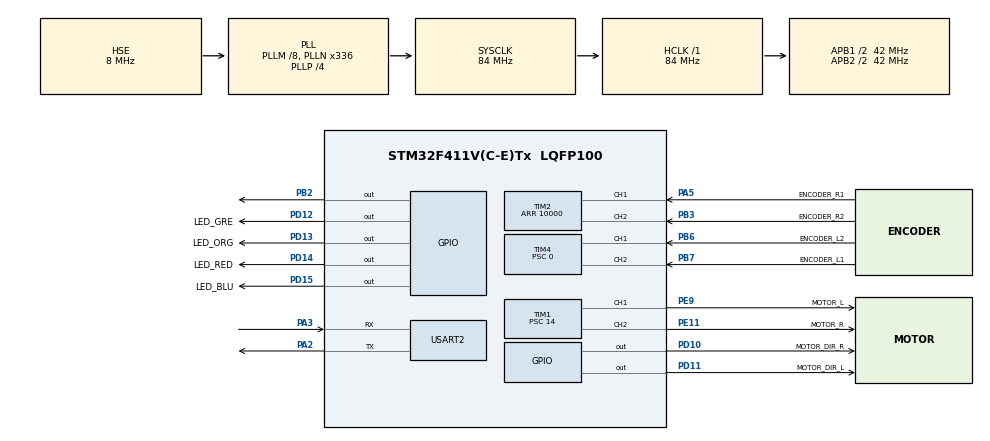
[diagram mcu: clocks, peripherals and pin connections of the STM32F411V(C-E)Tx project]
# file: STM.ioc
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Dma.Request0=USART2_RX
Dma.USART2_RX.0.Direction=DMA_PERIPH_TO_MEMORY
Dma.USART2_RX.0.FIFOMode=DMA_FIFOMODE_DISABLE
Dma.USART2_RX.0.Instance=DMA1_Stream5
Dma.USART2_RX.0.MemDataAlignment=DMA_MDATAALIGN_BYTE
Dma.USART2_RX.0.MemInc=DMA_MINC_ENABLE
Dma.USART2_RX.0.Mode=DMA_CIRCULAR
Dma.USART2_RX.0.PeriphDataAlignment=DMA_PDATAALIGN_BYTE
Dma.USART2_RX.0.PeriphInc=DMA_PINC_DISABLE
Dma.USART2_RX.0.Priority=DMA_PRIORITY_LOW
Mcu.Family=STM32F4
Mcu.Name=STM32F411V(C-E)Tx
Mcu.Package=LQFP100
NVIC.DMA1_Stream5_IRQn=true\:0\:0\:false\:false\:true\:false\:true
NVIC.PriorityGroup=NVIC_PRIORITYGROUP_4
NVIC.TIM1_BRK_TIM9_IRQn=true\:0\:0\:false\:false\:true\:true\:true
NVIC.TIM5_IRQn=true\:0\:0\:false\:false\:true\:true\:true
NVIC.USART2_IRQn=true\:0\:0\:false\:false\:true\:true\:true
PA13.Mode=Serial_Wire
PA13.Signal=SYS_JTMS-SWDIO
PA14.Mode=Serial_Wire
PA14.Signal=SYS_JTCK-SWCLK
PA2.Mode=Asynchronous
PA2.Signal=USART2_TX
PA3.Mode=Asynchronous
PA3.Signal=USART2_RX
PA5.GPIO_Label=ENCODER_R1
PA5.Signal=S_TIM2_CH1_ETR
PB2.Signal=GPIO_Output
PB3.GPIO_Label=ENCODER_R2
PB3.Signal=S_TIM2_CH2
PB6.GPIO_Label=ENCODER_L2
PB6.Signal=S_TIM4_CH1
PB7.GPIO_Label=ENCODER_L1
PB7.Signal=S_TIM4_CH2
PC14-OSC32_IN.Mode=LSE-External-Oscillator
PC14-OSC32_IN.Signal=RCC_OSC32_IN
PC15-OSC32_OUT.Mode=LSE-External-Oscillator
PC15-OSC32_OUT.Signal=RCC_OSC32_OUT
PD10.GPIO_Label=MOTOR_DIR_R
PD10.GPIO_ModeDefaultOutputPP=GPIO_MODE_OUTPUT_PP
PD10.GPIO_PuPd=GPIO_PULLUP
PD10.GPIO_Speed=GPIO_SPEED_FREQ_VERY_HIGH
PD10.PinState=GPIO_PIN_SET
PD10.Signal=GPIO_Output
PD11.GPIO_Label=MOTOR_DIR_L
PD11.GPIO_ModeDefaultOutputPP=GPIO_MODE_OUTPUT_PP
PD11.GPIO_PuPd=GPIO_PULLUP
PD11.GPIO_Speed=GPIO_SPEED_FREQ_VERY_HIGH
PD11.PinState=GPIO_PIN_SET
PD11.Signal=GPIO_Output
PD12.GPIO_Label=LED_GRE
PD12.Signal=GPIO_Output
PD13.GPIO_Label=LED_ORG
PD13.Signal=GPIO_Output
PD14.GPIO_Label=LED_RED
PD14.Signal=GPIO_Output
PD15.GPIO_Label=LED_BLU
PD15.Signal=GPIO_Output
PE11.GPIO_Label=MOTOR_R
PE11.GPIO_ModeDefaultPP=GPIO_MODE_AF_PP
PE11.GPIO_PuPd=GPIO_NOPULL
PE11.GPIO_Speed=GPIO_SPEED_FREQ_VERY_HIGH
PE11.Signal=S_TIM1_CH2
PE9.GPIO_Label=MOTOR_L
PE9.GPIO_ModeDefaultPP=GPIO_MODE_AF_PP
PE9.GPIO_PuPd=GPIO_NOPULL
PE9.GPIO_Speed=GPIO_SPEED_FREQ_VERY_HIGH
PE9.Signal=S_TIM1_CH1
PH0\ -\ OSC_IN.Mode=HSE-External-Oscillator
PH0\ -\ OSC_IN.Signal=RCC_OSC_IN
PH1\ -\ OSC_OUT.Mode=HSE-External-Oscillator
PH1\ -\ OSC_OUT.Signal=RCC_OSC_OUT
ProjectManager.HeapSize=0x200
ProjectManager.StackSize=0x400
ProjectManager.TargetToolchain=STM32CubeIDE
RCC.48MHZClocksFreq_Value=84000000
RCC.AHBFreq_Value=84000000
RCC.APB1CLKDivider=RCC_HCLK_DIV2
RCC.APB1Freq_Value=42000000
RCC.APB1TimFreq_Value=84000000
RCC.APB2CLKDivider=RCC_HCLK_DIV2
RCC.APB2Freq_Value=42000000
RCC.APB2TimFreq_Value=84000000
RCC.CortexFreq_Value=84000000
RCC.HCLKFreq_Value=84000000
RCC.HSE_VALUE=8000000
RCC.HSI_VALUE=16000000
RCC.PLLM=8
RCC.PLLN=336
RCC.PLLP=RCC_PLLP_DIV4
RCC.PLLSourceVirtual=RCC_PLLSOURCE_HSE
RCC.SYSCLKFreq_VALUE=84000000
RCC.SYSCLKSource=RCC_SYSCLKSOURCE_PLLCLK
RCC.VCOOutputFreq_Value=336000000
SH.S_TIM1_CH1.0=TIM1_CH1,PWM Generation1 CH1
SH.S_TIM1_CH2.0=TIM1_CH2,PWM Generation2 CH2
SH.S_TIM2_CH1_ETR.0=TIM2_CH1,Encoder_Interface
SH.S_TIM2_CH2.0=TIM2_CH2,Encoder_Interface
SH.S_TIM4_CH1.0=TIM4_CH1,Encoder_Interface
SH.S_TIM4_CH2.0=TIM4_CH2,Encoder_Interface
TIM1.Channel-PWM\ Generation1\ CH1=TIM_CHANNEL_1
TIM1.Channel-PWM\ Generation2\ CH2=TIM_CHANNEL_2
TIM1.Period=299
TIM1.Prescaler=14
TIM2.CounterMode=TIM_COUNTERMODE_UP
TIM2.EncoderMode=TIM_ENCODERMODE_TI12
TIM2.Period=10000
TIM4.CounterMode=TIM_COUNTERMODE_UP
TIM4.EncoderMode=TIM_ENCODERMODE_TI12
TIM4.Period=10000
TIM4.Prescaler=0
TIM5.Period=49
TIM5.Prescaler=8400
TIM9.Period=999
TIM9.Prescaler=8400
USART2.OverSampling=UART_OVERSAMPLING_16
USART2.VirtualMode=VM_ASYNC
VP_TIM1_VS_ClockSourceINT.Mode=Internal
VP_TIM5_VS_ClockSourceINT.Mode=Internal
VP_TIM9_VS_ClockSourceINT.Mode=Internal
board=custom

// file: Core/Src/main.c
/* USER CODE BEGIN Header */
/**
  ******************************************************************************
  * @file           : main.c
  * @brief          : Main program body
  ******************************************************************************
  * @attention
  *
  * <h2><center>&copy; Copyright (c) 2020 STMicroelectronics.
  * All rights reserved.</center></h2>
  *
  * This software component is licensed by ST under BSD 3-Clause license,
  * the "License"; You may not use this file except in compliance with the
  * License. You may obtain a copy of the License at:
  *                        opensource.org/licenses/BSD-3-Clause
  *
  ******************************************************************************
  */
/*
TIM1: MOTOR
TIM2: ENCODER
TIM4: ENCODER
TIM9: DELAY 100MS
TIM5: XXXX
TIM5: DELAY 5MS
*/

/* USER CODE END Header */

#include "main.h"

/* USER CODE BEGIN Includes */
#include <pid_controller.h>
#include "math.h"
/* USER CODE END Includes */

TIM_HandleTypeDef htim1;
TIM_HandleTypeDef htim2;
TIM_HandleTypeDef htim4;
TIM_HandleTypeDef htim5;
TIM_HandleTypeDef htim9;

UART_HandleTypeDef huart2;
DMA_HandleTypeDef hdma_usart2_rx;

/* USER CODE BEGIN PV */
volatile float *velo;
volatile int16_t encoder[2];
volatile float /*enc[2], */test[10];
volatile float enc[4];

/* UART 2*/
uint8_t receivebuffer[6], transmitData[3];
uint8_t dataTransmit[16];
float data_Receive[2];
/* PID Controller*/
float Kp[2] = {20.5f, 6.0f};
float Ki[2] = {2.0f, 1.0f};
float Kd[2] = {0.03f, 0.0f};
float Ts = 5; // 5ms
float vt;

/*  interupt*/
volatile float PID_current[2], v_target[2], *duty_cycle;

float A0, A1, A2, Aout, E0, E1, E2;
float Aout1;
/*test*/
uint32_t t1,t2,t3,t4;
/* USER CODE END PV */

void SystemClock_Config(void);
static void MX_GPIO_Init(void);
static void MX_DMA_Init(void);
static void MX_TIM1_Init(void);
static void MX_TIM2_Init(void);
static void MX_TIM4_Init(void);
static void MX_TIM9_Init(void);
static void MX_USART2_UART_Init(void);
static void MX_TIM5_Init(void);
/* USER CODE BEGIN PFP */
void Control_Motor(int16_t duty_l,int16_t duty_r);
float * Get_Velocity();
/* USER CODE END PFP */

/* USER CODE BEGIN 0 */
void Control_Motor(int16_t duty_r,int16_t duty_l){
	test[0]=duty_r;
	test[1]=duty_l;

	HAL_GPIO_WritePin(GPIOD, MOTOR_DIR_R_Pin, GPIO_PIN_RESET);
	__HAL_TIM_SET_COMPARE(&htim1, TIM_CHANNEL_2, duty_r);

	HAL_GPIO_WritePin(GPIOD, MOTOR_DIR_L_Pin, GPIO_PIN_RESET);
	__HAL_TIM_SET_COMPARE(&htim1, TIM_CHANNEL_1, 0);

	HAL_GPIO_TogglePin(GPIOD, LED_ORG_Pin);

/*
	if(duty_l>=0){
		HAL_GPIO_WritePin(GPIOD, MOTOR_DIR_L_Pin, GPIO_PIN_RESET);
		__HAL_TIM_SET_COMPARE(&htim1, MOTOR_L_Pin, 100);
	}
	else{
		HAL_GPIO_WritePin(GPIOD, MOTOR_DIR_L_Pin, GPIO_PIN_SET);
		__HAL_TIM_SET_COMPARE(&htim1, MOTOR_L_Pin, duty_l);
	}

	if(duty_r>=0){
		HAL_GPIO_WritePin(GPIOD, MOTOR_DIR_R_Pin, GPIO_PIN_RESET);
		__HAL_TIM_SET_COMPARE(&htim1, MOTOR_R_Pin, duty_r);
	}
	else{
		HAL_GPIO_WritePin(GPIOD, MOTOR_DIR_R_Pin, GPIO_PIN_SET);
		__HAL_TIM_SET_COMPARE(&htim1, MOTOR_R_Pin, duty_r);
	}
*/
}

float * Get_Velocity(){
//	volatile float enc[2];
	enc[0]= fabs((TIM2->CNT)-5000.0F);
	if ((TIM2->CNT)>=5000) enc[1]=-1;
	else enc[1]=1;

	enc[2]= fabs((TIM4->CNT)-5000.0F);
	if ((TIM4->CNT)>5000) enc[3]=1;
	else enc[3]=-1;

	TIM4->CNT=5000;
	TIM2->CNT=5000;

	return enc;
}

// data1: x, data2: y, Kpid
void Transmit_Uart(float x, float y, float v_l, int dir_l, float v_r, int dir_r){

	dataTransmit[0]=(uint8_t)((((uint16_t)x)|0x00FF)>>8); // 8 bit H
	dataTransmit[1]=(uint8_t)((((uint16_t)x)|0xFF00)); 	      // 8 bit L
	dataTransmit[2]=(uint8_t)((((uint16_t)((x-(uint16_t)x)*10000.0f))|0x00FF)>>8); // 8 bit H
	dataTransmit[3]=(uint8_t)((((uint16_t)((x-(uint16_t)x)*10000.0f))|0xFF00));    // 8 bit L

	dataTransmit[4]=(uint8_t)((((uint16_t)y)|0x00FF)>>8); // 8 bit H
	dataTransmit[5]=(uint8_t)((((uint16_t)y)|0xFF00)); 	      // 8 bit L
	dataTransmit[6]=(uint8_t)((((uint16_t)((y-(uint16_t)y)*10000.0f))|0x00FF)>>8); // 8 bit H
	dataTransmit[7]=(uint8_t)((((uint16_t)((y-(uint16_t)y)*10000.0f))|0xFF00));    // 8 bit L

	dataTransmit[8]=(uint8_t)v_l; // 8 bit truoc dau .
	dataTransmit[9]=(uint8_t)((((uint16_t)((v_l-(uint16_t)v_l)*10000.0f))|0x00FF)>>8); // 8 bit H
	dataTransmit[10]=(uint8_t)((((uint16_t)((v_l-(uint16_t)v_l)*10000.0f))|0xFF00));    // 8 bit L

	dataTransmit[11]=(uint8_t)dir_l;

	dataTransmit[12]=(uint8_t)v_r; // 8 bit truoc dau .
	dataTransmit[13]=(uint8_t)((((uint16_t)((v_r-(uint16_t)v_r)*10000.0f))|0x00FF)>>8); // 8 bit H
	dataTransmit[14]=(uint8_t)((((uint16_t)((v_r-(uint16_t)v_r)*10000.0f))|0xFF00));    // 8 bit L

	dataTransmit[15]=(uint8_t)dir_r;
//	for(int i=0;i<14;i++){
//		dataTransmit[i]=0xF3;
//	}

	HAL_UART_Transmit(&huart2, &dataTransmit[0], sizeof(dataTransmit), 1);
//	dataTransmit[8]=(int8_t)v_l; // 8 bit truoc dau .
//	dataTransmit[9]=(int8_t)((((int16_t)((x-(int16_t)v_l)*10000))|0xF0)>>8); // 8 bit H
//	dataTransmit[10]=(int8_t)((((int16_t)((x-(int16_t)v_l)*10000))|0x0F));    // 8 bit L
}

float *Receive_Uart(){
	data_Receive[0]=(float)(receivebuffer[0]+(float)(((uint16_t)((receivebuffer[1]<<8)|receivebuffer[2])/10000.0f)));
	data_Receive[1]=(float)(receivebuffer[3]+(float)(((uint16_t)((receivebuffer[4]<<8)|receivebuffer[5])/10000.0f)));

	return data_Receive;
}

/* USER CODE END 0 */

int main(void)
{

  /* MCU Configuration--------------------------------------------------------*/

  /* Reset of all peripherals, Initializes the Flash interface and the Systick. */
  HAL_Init();

  /* Configure the system clock */
  SystemClock_Config();

  /* Initialize all configured peripherals */
  MX_GPIO_Init();
  MX_DMA_Init();
  MX_TIM1_Init();
  MX_TIM2_Init();
  MX_TIM4_Init();
  MX_TIM9_Init();
  MX_USART2_UART_Init();
  MX_TIM5_Init();
  /* USER CODE BEGIN 2 */
  HAL_TIM_PWM_Start(&htim1, TIM_CHANNEL_1);
  HAL_TIM_PWM_Start(&htim1, TIM_CHANNEL_2);
  HAL_TIM_Base_Start_IT(&htim9);
  HAL_TIM_Base_Start_IT(&htim5);
  HAL_TIM_Encoder_Start(&htim4, TIM_CHANNEL_ALL);
  HAL_TIM_Encoder_Start(&htim2, TIM_CHANNEL_ALL);
  HAL_UART_Receive_DMA(&huart2 ,&receivebuffer[0], 6);

  PID_Init(Kp, Ki, Kd, Ts);
  /* USER CODE END 2 */

  /* Infinite loop */
  /* USER CODE BEGIN WHILE */
  while (1)
  {

	  // HAL_GPIO_TogglePin(GPIOD, LED_BLU_Pin);

//	  HAL_GPIO_TogglePin(GPIOD, LED_RED_Pin);
//	  HAL_Delay(1000);
    /* USER CODE END WHILE */

  }
}

void SystemClock_Config(void)
{
  RCC_OscInitTypeDef RCC_OscInitStruct = {0};
  RCC_ClkInitTypeDef RCC_ClkInitStruct = {0};

  /** Configure the main internal regulator output voltage
  */
  __HAL_RCC_PWR_CLK_ENABLE();
  __HAL_PWR_VOLTAGESCALING_CONFIG(PWR_REGULATOR_VOLTAGE_SCALE1);
  /** Initializes the CPU, AHB and APB busses clocks
  */
  RCC_OscInitStruct.OscillatorType = RCC_OSCILLATORTYPE_HSE;
  RCC_OscInitStruct.HSEState = RCC_HSE_ON;
  RCC_OscInitStruct.PLL.PLLState = RCC_PLL_ON;
  RCC_OscInitStruct.PLL.PLLSource = RCC_PLLSOURCE_HSE;
  RCC_OscInitStruct.PLL.PLLM = 8;
  RCC_OscInitStruct.PLL.PLLN = 336;
  RCC_OscInitStruct.PLL.PLLP = RCC_PLLP_DIV4;
  RCC_OscInitStruct.PLL.PLLQ = 4;
  if (HAL_RCC_OscConfig(&RCC_OscInitStruct) != HAL_OK)
  {
    Error_Handler();
  }
  /** Initializes the CPU, AHB and APB busses clocks
  */
  RCC_ClkInitStruct.ClockType = RCC_CLOCKTYPE_HCLK|RCC_CLOCKTYPE_SYSCLK
                              |RCC_CLOCKTYPE_PCLK1|RCC_CLOCKTYPE_PCLK2;
  RCC_ClkInitStruct.SYSCLKSource = RCC_SYSCLKSOURCE_PLLCLK;
  RCC_ClkInitStruct.AHBCLKDivider = RCC_SYSCLK_DIV1;
  RCC_ClkInitStruct.APB1CLKDivider = RCC_HCLK_DIV2;
  RCC_ClkInitStruct.APB2CLKDivider = RCC_HCLK_DIV2;

  if (HAL_RCC_ClockConfig(&RCC_ClkInitStruct, FLASH_LATENCY_2) != HAL_OK)
  {
    Error_Handler();
  }
}

static void MX_TIM1_Init(void)
{

  TIM_ClockConfigTypeDef sClockSourceConfig = {0};
  TIM_MasterConfigTypeDef sMasterConfig = {0};
  TIM_OC_InitTypeDef sConfigOC = {0};
  TIM_BreakDeadTimeConfigTypeDef sBreakDeadTimeConfig = {0};

  htim1.Instance = TIM1;
  htim1.Init.Prescaler = 14;
  htim1.Init.CounterMode = TIM_COUNTERMODE_UP;
  htim1.Init.Period = 299;
  htim1.Init.ClockDivision = TIM_CLOCKDIVISION_DIV1;
  htim1.Init.RepetitionCounter = 0;
  htim1.Init.AutoReloadPreload = TIM_AUTORELOAD_PRELOAD_DISABLE;
  if (HAL_TIM_Base_Init(&htim1) != HAL_OK)
  {
    Error_Handler();
  }
  sClockSourceConfig.ClockSource = TIM_CLOCKSOURCE_INTERNAL;
  if (HAL_TIM_ConfigClockSource(&htim1, &sClockSourceConfig) != HAL_OK)
  {
    Error_Handler();
  }
  if (HAL_TIM_PWM_Init(&htim1) != HAL_OK)
  {
    Error_Handler();
  }
  sMasterConfig.MasterOutputTrigger = TIM_TRGO_RESET;
  sMasterConfig.MasterSlaveMode = TIM_MASTERSLAVEMODE_DISABLE;
  if (HAL_TIMEx_MasterConfigSynchronization(&htim1, &sMasterConfig) != HAL_OK)
  {
    Error_Handler();
  }
  sConfigOC.OCMode = TIM_OCMODE_PWM1;
  sConfigOC.Pulse = 0;
  sConfigOC.OCPolarity = TIM_OCPOLARITY_HIGH;
  sConfigOC.OCNPolarity = TIM_OCNPOLARITY_HIGH;
  sConfigOC.OCFastMode = TIM_OCFAST_DISABLE;
  sConfigOC.OCIdleState = TIM_OCIDLESTATE_RESET;
  sConfigOC.OCNIdleState = TIM_OCNIDLESTATE_RESET;
  if (HAL_TIM_PWM_ConfigChannel(&htim1, &sConfigOC, TIM_CHANNEL_1) != HAL_OK)
  {
    Error_Handler();
  }
  if (HAL_TIM_PWM_ConfigChannel(&htim1, &sConfigOC, TIM_CHANNEL_2) != HAL_OK)
  {
    Error_Handler();
  }
  sBreakDeadTimeConfig.OffStateRunMode = TIM_OSSR_DISABLE;
  sBreakDeadTimeConfig.OffStateIDLEMode = TIM_OSSI_DISABLE;
  sBreakDeadTimeConfig.LockLevel = TIM_LOCKLEVEL_OFF;
  sBreakDeadTimeConfig.DeadTime = 0;
  sBreakDeadTimeConfig.BreakState = TIM_BREAK_DISABLE;
  sBreakDeadTimeConfig.BreakPolarity = TIM_BREAKPOLARITY_HIGH;
  sBreakDeadTimeConfig.AutomaticOutput = TIM_AUTOMATICOUTPUT_DISABLE;
  if (HAL_TIMEx_ConfigBreakDeadTime(&htim1, &sBreakDeadTimeConfig) != HAL_OK)
  {
    Error_Handler();
  }
  HAL_TIM_MspPostInit(&htim1);

}

static void MX_TIM2_Init(void)
{

  TIM_Encoder_InitTypeDef sConfig = {0};
  TIM_MasterConfigTypeDef sMasterConfig = {0};

  htim2.Instance = TIM2;
  htim2.Init.Prescaler = 0;
  htim2.Init.CounterMode = TIM_COUNTERMODE_UP;
  htim2.Init.Period = 10000;
  htim2.Init.ClockDivision = TIM_CLOCKDIVISION_DIV1;
  htim2.Init.AutoReloadPreload = TIM_AUTORELOAD_PRELOAD_DISABLE;
  sConfig.EncoderMode = TIM_ENCODERMODE_TI12;
  sConfig.IC1Polarity = TIM_ICPOLARITY_RISING;
  sConfig.IC1Selection = TIM_ICSELECTION_DIRECTTI;
  sConfig.IC1Prescaler = TIM_ICPSC_DIV1;
  sConfig.IC1Filter = 0;
  sConfig.IC2Polarity = TIM_ICPOLARITY_RISING;
  sConfig.IC2Selection = TIM_ICSELECTION_DIRECTTI;
  sConfig.IC2Prescaler = TIM_ICPSC_DIV1;
  sConfig.IC2Filter = 0;
  if (HAL_TIM_Encoder_Init(&htim2, &sConfig) != HAL_OK)
  {
    Error_Handler();
  }
  sMasterConfig.MasterOutputTrigger = TIM_TRGO_RESET;
  sMasterConfig.MasterSlaveMode = TIM_MASTERSLAVEMODE_DISABLE;
  if (HAL_TIMEx_MasterConfigSynchronization(&htim2, &sMasterConfig) != HAL_OK)
  {
    Error_Handler();
  }

}

static void MX_TIM4_Init(void)
{

  TIM_Encoder_InitTypeDef sConfig = {0};
  TIM_MasterConfigTypeDef sMasterConfig = {0};

  htim4.Instance = TIM4;
  htim4.Init.Prescaler = 0;
  htim4.Init.CounterMode = TIM_COUNTERMODE_UP;
  htim4.Init.Period = 10000;
  htim4.Init.ClockDivision = TIM_CLOCKDIVISION_DIV1;
  htim4.Init.AutoReloadPreload = TIM_AUTORELOAD_PRELOAD_DISABLE;
  sConfig.EncoderMode = TIM_ENCODERMODE_TI12;
  sConfig.IC1Polarity = TIM_ICPOLARITY_RISING;
  sConfig.IC1Selection = TIM_ICSELECTION_DIRECTTI;
  sConfig.IC1Prescaler = TIM_ICPSC_DIV1;
  sConfig.IC1Filter = 0;
  sConfig.IC2Polarity = TIM_ICPOLARITY_RISING;
  sConfig.IC2Selection = TIM_ICSELECTION_DIRECTTI;
  sConfig.IC2Prescaler = TIM_ICPSC_DIV1;
  sConfig.IC2Filter = 0;
  if (HAL_TIM_Encoder_Init(&htim4, &sConfig) != HAL_OK)
  {
    Error_Handler();
  }
  sMasterConfig.MasterOutputTrigger = TIM_TRGO_RESET;
  sMasterConfig.MasterSlaveMode = TIM_MASTERSLAVEMODE_DISABLE;
  if (HAL_TIMEx_MasterConfigSynchronization(&htim4, &sMasterConfig) != HAL_OK)
  {
    Error_Handler();
  }

}

static void MX_TIM5_Init(void)
{

  TIM_ClockConfigTypeDef sClockSourceConfig = {0};
  TIM_MasterConfigTypeDef sMasterConfig = {0};

  htim5.Instance = TIM5;
  htim5.Init.Prescaler = 8400;
  htim5.Init.CounterMode = TIM_COUNTERMODE_UP;
  htim5.Init.Period = 49;
  htim5.Init.ClockDivision = TIM_CLOCKDIVISION_DIV1;
  htim5.Init.AutoReloadPreload = TIM_AUTORELOAD_PRELOAD_DISABLE;
  if (HAL_TIM_Base_Init(&htim5) != HAL_OK)
  {
    Error_Handler();
  }
  sClockSourceConfig.ClockSource = TIM_CLOCKSOURCE_INTERNAL;
  if (HAL_TIM_ConfigClockSource(&htim5, &sClockSourceConfig) != HAL_OK)
  {
    Error_Handler();
  }
  sMasterConfig.MasterOutputTrigger = TIM_TRGO_RESET;
  sMasterConfig.MasterSlaveMode = TIM_MASTERSLAVEMODE_DISABLE;
  if (HAL_TIMEx_MasterConfigSynchronization(&htim5, &sMasterConfig) != HAL_OK)
  {
    Error_Handler();
  }

}

static void MX_TIM9_Init(void)
{

  TIM_ClockConfigTypeDef sClockSourceConfig = {0};

  htim9.Instance = TIM9;
  htim9.Init.Prescaler = 8400;
  htim9.Init.CounterMode = TIM_COUNTERMODE_UP;
  htim9.Init.Period = 999;
  htim9.Init.ClockDivision = TIM_CLOCKDIVISION_DIV1;
  htim9.Init.AutoReloadPreload = TIM_AUTORELOAD_PRELOAD_DISABLE;
  if (HAL_TIM_Base_Init(&htim9) != HAL_OK)
  {
    Error_Handler();
  }
  sClockSourceConfig.ClockSource = TIM_CLOCKSOURCE_INTERNAL;
  if (HAL_TIM_ConfigClockSource(&htim9, &sClockSourceConfig) != HAL_OK)
  {
    Error_Handler();
  }

}

static void MX_USART2_UART_Init(void)
{

  huart2.Instance = USART2;
  huart2.Init.BaudRate = 115200;
  huart2.Init.WordLength = UART_WORDLENGTH_8B;
  huart2.Init.StopBits = UART_STOPBITS_1;
  huart2.Init.Parity = UART_PARITY_NONE;
  huart2.Init.Mode = UART_MODE_TX_RX;
  huart2.Init.HwFlowCtl = UART_HWCONTROL_NONE;
  huart2.Init.OverSampling = UART_OVERSAMPLING_16;
  if (HAL_UART_Init(&huart2) != HAL_OK)
  {
    Error_Handler();
  }

}

static void MX_DMA_Init(void)
{

  /* DMA controller clock enable */
  __HAL_RCC_DMA1_CLK_ENABLE();

  /* DMA interrupt init */
  /* DMA1_Stream5_IRQn interrupt configuration */
  HAL_NVIC_SetPriority(DMA1_Stream5_IRQn, 0, 0);
  HAL_NVIC_EnableIRQ(DMA1_Stream5_IRQn);

}

static void MX_GPIO_Init(void)
{
  GPIO_InitTypeDef GPIO_InitStruct = {0};

  /* GPIO Ports Clock Enable */
  __HAL_RCC_GPIOC_CLK_ENABLE();
  __HAL_RCC_GPIOH_CLK_ENABLE();
  __HAL_RCC_GPIOA_CLK_ENABLE();
  __HAL_RCC_GPIOB_CLK_ENABLE();
  __HAL_RCC_GPIOE_CLK_ENABLE();
  __HAL_RCC_GPIOD_CLK_ENABLE();

  /*Configure GPIO pin Output Level */
  HAL_GPIO_WritePin(GPIOB, GPIO_PIN_2, GPIO_PIN_RESET);

  /*Configure GPIO pin Output Level */
  HAL_GPIO_WritePin(GPIOD, MOTOR_DIR_R_Pin|MOTOR_DIR_L_Pin, GPIO_PIN_SET);

  /*Configure GPIO pin Output Level */
  HAL_GPIO_WritePin(GPIOD, LED_GRE_Pin|LED_ORG_Pin|LED_RED_Pin|LED_BLU_Pin, GPIO_PIN_RESET);

  /*Configure GPIO pin : PB2 */
  GPIO_InitStruct.Pin = GPIO_PIN_2;
  GPIO_InitStruct.Mode = GPIO_MODE_OUTPUT_PP;
  GPIO_InitStruct.Pull = GPIO_NOPULL;
  GPIO_InitStruct.Speed = GPIO_SPEED_FREQ_LOW;
  HAL_GPIO_Init(GPIOB, &GPIO_InitStruct);

  /*Configure GPIO pins : MOTOR_DIR_R_Pin MOTOR_DIR_L_Pin */
  GPIO_InitStruct.Pin = MOTOR_DIR_R_Pin|MOTOR_DIR_L_Pin;
  GPIO_InitStruct.Mode = GPIO_MODE_OUTPUT_PP;
  GPIO_InitStruct.Pull = GPIO_PULLUP;
  GPIO_InitStruct.Speed = GPIO_SPEED_FREQ_VERY_HIGH;
  HAL_GPIO_Init(GPIOD, &GPIO_InitStruct);

  /*Configure GPIO pins : LED_GRE_Pin LED_ORG_Pin LED_RED_Pin LED_BLU_Pin */
  GPIO_InitStruct.Pin = LED_GRE_Pin|LED_ORG_Pin|LED_RED_Pin|LED_BLU_Pin;
  GPIO_InitStruct.Mode = GPIO_MODE_OUTPUT_PP;
  GPIO_InitStruct.Pull = GPIO_NOPULL;
  GPIO_InitStruct.Speed = GPIO_SPEED_FREQ_LOW;
  HAL_GPIO_Init(GPIOD, &GPIO_InitStruct);

}

/* USER CODE BEGIN 4 */
void HAL_TIM_PeriodElapsedCallback(TIM_HandleTypeDef *htim){
//	delay 5ms
	if(htim->Instance==htim5.Instance){
		volatile float *data_Receive;
		t1++;
		HAL_GPIO_TogglePin(GPIOD, LED_GRE_Pin);
		velo = Get_Velocity();
		data_Receive = Receive_Uart();
		for(int i=0;i<2;i++){
			PID_current[i]=*(velo+i*2);
//			v_target[i]=*(data_Receive+i);
//			v_target[i] = 10.0f;
		}

		duty_cycle = PID_Calculate(v_target, PID_current);
		test[2]=*(duty_cycle);
		test[3]=*(duty_cycle+1);
		Control_Motor(*(duty_cycle), *(duty_cycle+1));
	}
//	delay 100ms
	else if(htim->Instance==htim9.Instance){
		HAL_GPIO_TogglePin(GPIOD, LED_RED_Pin);
		v_target[0] = 15.0;
/*		if(v_target[0] >= 19.0f) vt=-0.5f;
		else if (v_target[0] <= 2.0) vt = 0.5f;*/
		Transmit_Uart(523.456, 321.654,*(velo), *(velo+1), *(velo+2), *(velo+3));
//		Transmit_Uart(523.456, 321.654,12.356,1,20.214,3);
	}
}
/* USER CODE END 4 */

void Error_Handler(void)
{
}

/************************ (C) COPYRIGHT STMicroelectronics *****END OF FILE****/
